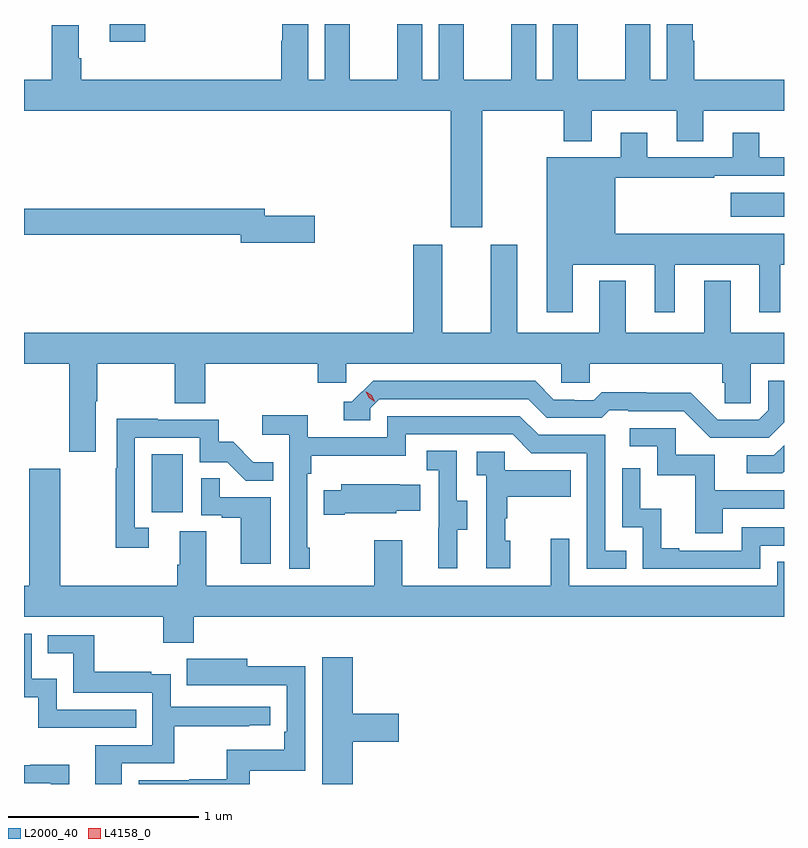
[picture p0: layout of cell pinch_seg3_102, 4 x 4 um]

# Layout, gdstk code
import gdstk
lib = gdstk.Library(unit=1e-6, precision=1e-09)
def R(c, l, rs):  # rectangles x0, y0, x1, y1
    for r in rs: c.add(gdstk.rectangle(r[:2], r[2:], *l))
def P(c, l, *ps):  # polygons
    for p in ps: c.add(gdstk.Polygon(p, *l))
L2000_40 = (2000, 40)
L4158_0 = (4158, 0)

pinch_seg3_102 = lib.new_cell('pinch_seg3_102')
R(pinch_seg3_102, L2000_40, [(1034.228,718.782,1034.392,719.089), (1037.277,720.338,1037.556,720.466), (1034.007,721.26,1034.195,721.353)])
P(pinch_seg3_102, L2000_40, [(1035.74,721.06),(1035.652,721.06),(1035.652,721.353),(1035.521,721.353),(1035.521,721.06),(1035.271,721.06),(1035.271,721.353),(1035.14,721.353),(1035.14,721.06),(1035.052,721.06),(1035.052,721.353),(1034.915,721.353),(1034.915,721.265),(1034.909,721.265),(1034.909,721.06),(1033.856,721.06),(1033.856,721.172),(1033.843,721.172),(1033.843,721.346),(1033.703,721.346),(1033.703,721.06),(1033.556,721.06),(1033.556,720.896),(1035.803,720.896),(1035.803,720.282),(1035.967,720.282),(1035.967,720.896),(1036.396,720.896),(1036.396,720.737),(1036.543,720.737),(1036.543,720.896),(1036.991,720.896),(1036.991,720.736),(1037.131,720.736),(1037.131,720.896),(1037.556,720.896),(1037.556,721.06),(1037.084,721.06),(1037.084,721.265),(1037.077,721.265),(1037.077,721.353),(1036.94,721.353),(1036.94,721.06),(1036.852,721.06),(1036.852,721.353),(1036.721,721.353),(1036.721,721.06),(1036.471,721.06),(1036.471,721.353),(1036.34,721.353),(1036.34,721.06),(1036.252,721.06),(1036.252,721.353),(1036.121,721.353),(1036.121,721.06),(1035.871,721.06),(1035.871,721.353),(1035.74,721.353)],
  [(1036.444,720.086),(1036.877,720.086),(1036.877,719.835),(1036.981,719.835),(1036.981,720.086),(1037.426,720.086),(1037.426,719.835),(1037.536,719.835),(1037.536,720.086),(1037.556,720.086),(1037.556,720.25),(1036.669,720.25),(1036.669,720.543),(1037.189,720.543),(1037.189,720.555),(1037.556,720.555),(1037.556,720.651),(1037.425,720.651),(1037.425,720.781),(1037.285,720.781),(1037.285,720.651),(1036.837,720.651),(1036.837,720.781),(1036.697,720.781),(1036.697,720.652),(1036.307,720.652),(1036.307,719.835),(1036.444,719.835)],
  [(1035.085,720.344),(1034.824,720.344),(1034.824,720.38),(1033.556,720.38),(1033.556,720.244),(1034.696,720.244),(1034.696,720.202),(1035.085,720.202)],
  [(1033.933,719.368),(1033.941,719.368),(1033.941,719.564),(1034.35,719.564),(1034.35,719.356),(1034.51,719.356),(1034.51,719.564),(1035.101,719.564),(1035.101,719.466),(1035.252,719.466),(1035.252,719.564),(1036.383,719.564),(1036.383,719.466),(1036.533,719.466),(1036.533,719.564),(1037.231,719.564),(1037.231,719.466),(1037.245,719.466),(1037.245,719.356),(1037.382,719.356),(1037.382,719.564),(1037.556,719.564),(1037.556,719.728),(1037.275,719.728),(1037.275,720.001),(1037.135,720.001),(1037.135,719.728),(1036.723,719.728),(1036.723,720.001),(1036.583,720.001),(1036.583,719.728),(1036.153,719.728),(1036.153,720.19),(1036.013,720.19),(1036.013,719.728),(1035.757,719.728),(1035.757,720.19),(1035.605,720.19),(1035.605,719.728),(1033.556,719.728),(1033.556,719.564),(1033.793,719.564),(1033.793,719.103),(1033.933,719.103)],
  [(1037.556,719.256),(1037.556,719.475),(1037.472,719.475),(1037.472,719.319),(1037.424,719.271),(1037.208,719.271),(1037.066,719.413),(1036.83,719.413),(1036.83,719.416),(1036.597,719.416),(1036.555,719.373),(1036.452,719.373),(1036.452,719.376),(1036.345,719.376),(1036.246,719.475),(1035.393,719.475),(1035.282,719.364),(1035.239,719.364),(1035.239,719.268),(1035.378,719.268),(1035.378,719.331),(1035.426,719.379),(1036.209,719.379),(1036.308,719.28),(1036.597,719.28),(1036.636,719.319),(1036.735,719.319),(1036.735,719.316),(1037.028,719.316),(1037.169,719.175),(1037.475,719.175)],
  [(1035.061,718.597),(1035.048,718.597),(1035.048,718.985),(1035.068,718.985),(1035.068,719.081),(1035.564,719.081),(1035.564,719.193),(1036.128,719.193),(1036.227,719.094),(1036.518,719.094),(1036.518,718.485),(1036.727,718.485),(1036.727,718.581),(1036.614,718.581),(1036.614,719.19),(1036.264,719.19),(1036.165,719.289),(1035.468,719.289),(1035.468,719.178),(1035.05,719.178),(1035.05,719.294),(1034.811,719.294),(1034.811,719.192),(1034.952,719.192),(1034.952,718.485),(1035.061,718.485)],
  [(1034.212,718.701),(1034.139,718.701),(1034.139,719.175),(1034.481,719.175),(1034.481,719.046),(1034.625,719.046),(1034.723,718.948),(1034.867,718.948),(1034.867,719.047),(1034.763,719.047),(1034.656,719.154),(1034.58,719.154),(1034.58,719.271),(1034.261,719.271),(1034.261,719.276),(1034.043,719.276),(1034.043,719.015),(1034.038,719.015),(1034.038,718.596),(1034.212,718.596)],
  [(1037.233,718.803),(1037.556,718.803),(1037.556,718.899),(1037.191,718.899),(1037.191,719.085),(1036.986,719.085),(1036.986,719.226),(1036.743,719.226),(1036.743,719.13),(1036.89,719.13),(1036.89,718.977),(1037.089,718.977),(1037.089,718.674),(1037.233,718.674)],
  [(1037.556,718.997),(1037.556,719.136),(1037.502,719.082),(1037.361,719.082),(1037.361,718.989),(1037.548,718.989)],
  [(1035.835,718.69),(1035.889,718.69),(1035.889,718.845),(1035.834,718.845),(1035.834,719.108),(1035.675,719.108),(1035.675,719.005),(1035.738,719.005),(1035.738,718.701),(1035.737,718.701),(1035.737,718.488),(1035.835,718.488)],
  [(1036.114,718.632),(1036.089,718.632),(1036.089,718.751),(1036.099,718.751),(1036.099,718.865),(1036.433,718.865),(1036.433,719.005),(1036.086,719.005),(1036.086,719.103),(1035.939,719.103),(1035.939,718.979),(1035.99,718.979),(1035.99,718.488),(1036.114,718.488)],
  [(1037.43,718.608),(1037.556,718.608),(1037.556,718.704),(1037.334,718.704),(1037.334,718.581),(1037.005,718.581),(1037.005,718.594),(1036.91,718.594),(1036.91,718.802),(1036.8,718.802),(1036.8,719.014),(1036.704,719.014),(1036.704,718.704),(1036.812,718.704),(1036.812,718.485),(1037.43,718.485)],
  [(1034.45,718.232),(1037.556,718.232),(1037.556,718.523),(1037.52,718.523),(1037.52,718.396),(1036.425,718.396),(1036.425,718.645),(1036.328,718.645),(1036.328,718.396),(1035.547,718.396),(1035.547,718.636),(1035.4,718.636),(1035.4,718.396),(1034.515,718.396),(1034.515,718.682),(1034.375,718.682),(1034.375,718.508),(1034.363,718.508),(1034.363,718.396),(1033.747,718.396),(1033.747,719.011),(1033.583,719.011),(1033.583,718.396),(1033.556,718.396),(1033.556,718.232),(1034.29,718.232),(1034.29,718.097),(1034.45,718.097)],
  [(1034.854,718.863),(1034.585,718.863),(1034.585,718.961),(1034.49,718.961),(1034.49,718.767),(1034.597,718.767),(1034.597,718.755),(1034.696,718.755),(1034.696,718.512),(1034.854,718.512)],
  [(1035.244,718.778),(1035.516,718.778),(1035.516,718.79),(1035.641,718.79),(1035.641,718.927),(1035.533,718.927),(1035.533,718.93),(1035.227,718.93),(1035.227,718.9),(1035.133,718.9),(1035.133,718.771),(1035.244,718.771)],
  [(1034.147,717.744),(1033.728,717.744),(1033.728,717.907),(1033.596,717.907),(1033.596,718.143),(1033.556,718.143),(1033.556,717.809),(1033.632,717.809),(1033.632,717.648),(1034.147,717.648)],
  [(1034.071,717.462),(1034.348,717.462),(1034.348,717.658),(1034.741,717.658),(1034.741,717.663),(1034.853,717.663),(1034.853,717.759),(1034.328,717.759),(1034.328,717.931),(1034.225,717.931),(1034.225,717.943),(1033.927,717.943),(1033.927,718.137),(1033.681,718.137),(1033.681,718.04),(1033.816,718.04),(1033.816,717.834),(1034.232,717.834),(1034.232,717.558),(1033.931,717.558),(1033.931,717.353),(1034.071,717.353)],
  [(1035.286,717.575),(1035.529,717.575),(1035.529,717.722),(1035.286,717.722),(1035.286,718.021),(1035.125,718.021),(1035.125,717.353),(1035.286,717.353)],
  [(1034.743,717.423),(1035.036,717.423),(1035.036,717.974),(1034.731,717.974),(1034.731,718.012),(1034.413,718.012),(1034.413,717.872),(1034.627,717.872),(1034.627,717.873),(1034.94,717.873),(1034.94,717.628),(1034.927,717.628),(1034.927,717.532),(1034.622,717.532),(1034.622,717.377),(1034.425,717.377),(1034.425,717.372),(1034.16,717.372),(1034.16,717.353),(1034.743,717.353)],
  [(1033.795,717.455),(1033.59,717.455),(1033.59,717.453),(1033.556,717.453),(1033.556,717.357),(1033.698,717.357),(1033.698,717.353),(1033.795,717.353)])
P(pinch_seg3_102, L4158_0, [(1035.402,719.364),(1035.371,719.385),(1035.355,719.418),(1035.355,719.418),(1035.356,719.418),(1035.386,719.398),(1035.402,719.365),(1035.402,719.364)])

lib.write_gds('pinch_seg3_102.gds')
